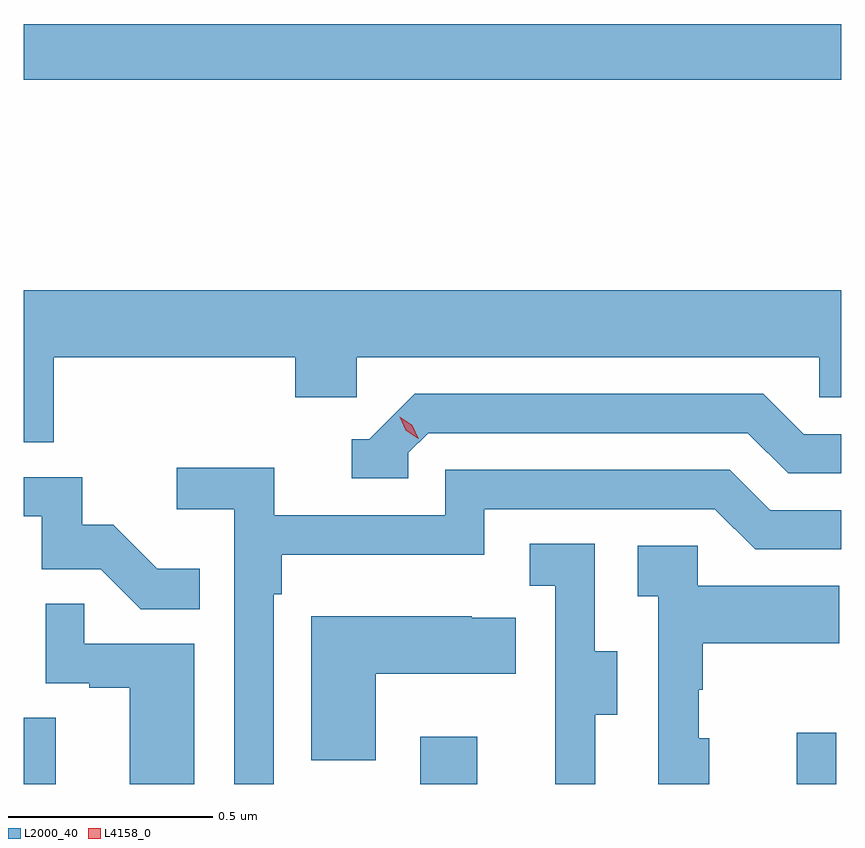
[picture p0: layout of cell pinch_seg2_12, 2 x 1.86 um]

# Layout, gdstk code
import gdstk
lib = gdstk.Library(unit=1e-6, precision=1e-09)
def R(c, l, rs):  # rectangles x0, y0, x1, y1
    for r in rs: c.add(gdstk.rectangle(r[:2], r[2:], *l))
def P(c, l, *ps):  # polygons
    for p in ps: c.add(gdstk.Polygon(p, *l))
L2000_40 = (2000, 40)
L4158_0 = (4158, 0)

pinch_seg2_12 = lib.new_cell('pinch_seg2_12')
R(pinch_seg2_12, L2000_40, [(1097.707,659.912,1097.785,660.074), (1098.677,659.912,1098.817,660.028), (1099.598,659.912,1099.695,660.037), (1097.707,661.636,1099.707,661.772)])
P(pinch_seg2_12, L2000_40, [(1097.78,660.956),(1098.371,660.956),(1098.371,660.858),(1098.522,660.858),(1098.522,660.956),(1099.653,660.956),(1099.653,660.858),(1099.707,660.858),(1099.707,661.12),(1097.707,661.12),(1097.707,660.748),(1097.78,660.748)],
  [(1098.648,660.723),(1098.696,660.771),(1099.479,660.771),(1099.578,660.672),(1099.707,660.672),(1099.707,660.768),(1099.615,660.768),(1099.516,660.867),(1098.663,660.867),(1098.552,660.756),(1098.509,660.756),(1098.509,660.66),(1098.648,660.66)],
  [(1098.318,660.377),(1098.338,660.377),(1098.338,660.473),(1098.834,660.473),(1098.834,660.585),(1099.398,660.585),(1099.497,660.486),(1099.707,660.486),(1099.707,660.582),(1099.534,660.582),(1099.435,660.681),(1098.738,660.681),(1098.738,660.57),(1098.32,660.57),(1098.32,660.686),(1098.081,660.686),(1098.081,660.584),(1098.222,660.584),(1098.222,659.912),(1098.318,659.912)],
  [(1098.137,660.439),(1098.033,660.439),(1097.926,660.546),(1097.85,660.546),(1097.85,660.663),(1097.707,660.663),(1097.707,660.567),(1097.751,660.567),(1097.751,660.438),(1097.895,660.438),(1097.993,660.34),(1098.137,660.34)],
  [(1099.105,660.082),(1099.159,660.082),(1099.159,660.237),(1099.104,660.237),(1099.104,660.5),(1098.945,660.5),(1098.945,660.397),(1099.008,660.397),(1099.008,660.093),(1099.007,660.093),(1099.007,659.912),(1099.105,659.912)],
  [(1099.384,660.024),(1099.359,660.024),(1099.359,660.143),(1099.369,660.143),(1099.369,660.257),(1099.703,660.257),(1099.703,660.397),(1099.356,660.397),(1099.356,660.495),(1099.209,660.495),(1099.209,660.371),(1099.26,660.371),(1099.26,659.912),(1099.384,659.912)],
  [(1098.124,660.255),(1097.855,660.255),(1097.855,660.353),(1097.76,660.353),(1097.76,660.159),(1097.867,660.159),(1097.867,660.147),(1097.966,660.147),(1097.966,659.912),(1098.124,659.912)],
  [(1098.568,660.182),(1098.911,660.182),(1098.911,660.319),(1098.803,660.319),(1098.803,660.322),(1098.41,660.322),(1098.41,659.97),(1098.568,659.97)])
P(pinch_seg2_12, L4158_0, [(1098.672,660.757),(1098.642,660.778),(1098.627,660.811),(1098.627,660.811),(1098.627,660.811),(1098.657,660.79),(1098.672,660.758),(1098.672,660.757)])

lib.write_gds('pinch_seg2_12.gds')
